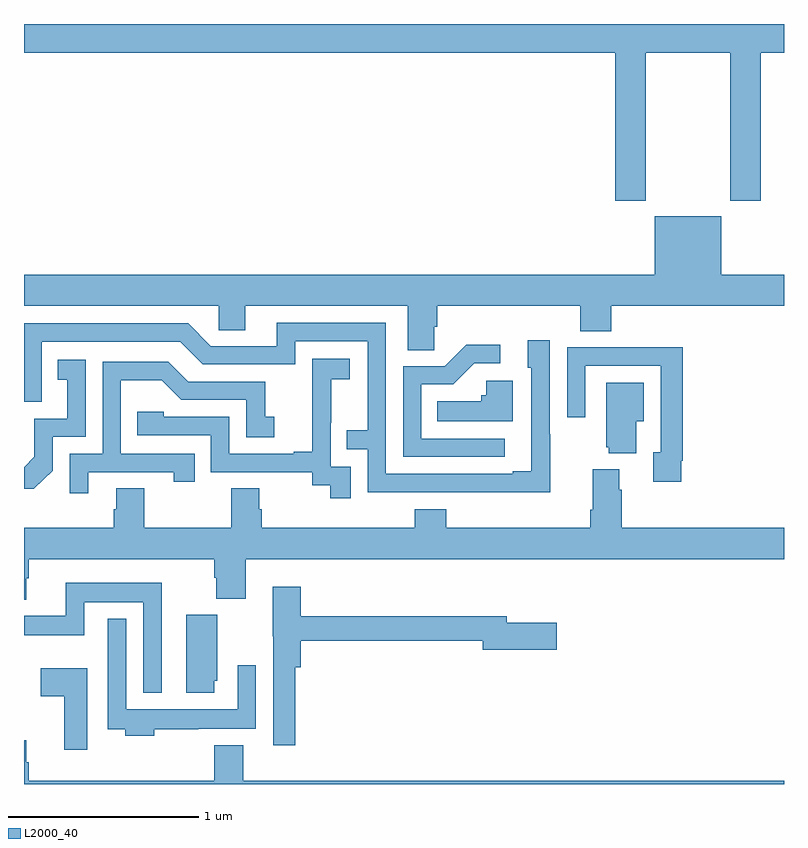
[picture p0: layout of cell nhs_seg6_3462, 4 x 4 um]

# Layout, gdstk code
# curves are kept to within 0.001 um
import gdstk
lib = gdstk.Library(unit=1e-6, precision=1e-09)
def P(c, l, *ps):  # polygons
    for p in ps: c.add(gdstk.Polygon(p, *l))
L2000_40 = (2000, 40)

nhs_seg6_3462 = lib.new_cell('nhs_seg6_3462')
P(nhs_seg6_3462, L2000_40, [(318.273,935.348),(318.718,935.348),(318.718,934.569),(318.878,934.569),(318.878,935.348),(319,935.348),(319,935.5),(315,935.5),(315,935.348),(318.113,935.348),(318.113,934.569),(318.273,934.569)],
  [(317.16,933.907),(317.174,933.907),(317.174,934.016),(317.927,934.016),(317.927,933.883),(318.092,933.883),(318.092,934.016),(319,934.016),(319,934.18),(318.67,934.18),(318.67,934.489),(318.32,934.489),(318.32,934.18),(315,934.18),(315,934.016),(316.026,934.016),(316.026,933.889),(316.165,933.889),(316.165,934.016),(317.021,934.016),(317.021,933.784),(317.16,933.784)],
  [(317.769,933.341),(317.766,933.341),(317.766,933.835),(317.651,933.835),(317.651,933.69),(317.67,933.69),(317.67,933.145),(317.573,933.145),(317.573,933.132),(316.905,933.132),(316.905,933.927),(316.331,933.927),(316.331,933.804),(315.984,933.804),(315.864,933.924),(315,933.924),(315,933.513),(315.093,933.513),(315.093,933.828),(315.822,933.828),(315.942,933.708),(316.428,933.708),(316.428,933.831),(316.809,933.831),(316.809,933.362),(316.699,933.362),(316.699,933.261),(316.809,933.261),(316.809,933.036),(317.769,933.035)],
  [(317.53,933.318),(317.091,933.318),(317.091,933.603),(317.26,933.603),(317.371,933.714),(317.506,933.714),(317.506,933.812),(317.327,933.812),(317.214,933.699),(316.995,933.699),(316.995,933.222),(317.53,933.222)],
  [(318.46,933.202),(318.467,933.202),(318.467,933.8),(318.175,933.8),(318.175,933.798),(317.859,933.798),(317.859,933.429),(317.955,933.429),(317.955,933.702),(318.351,933.702),(318.351,933.246),(318.311,933.246),(318.311,933.09),(318.46,933.09)],
  [(316.719,933.171),(316.614,933.171),(316.614,933.401),(316.616,933.401),(316.616,933.629),(316.714,933.629),(316.714,933.739),(316.516,933.739),(316.516,933.533),(316.517,933.533),(316.517,933.25),(316.421,933.25),(316.421,933.237),(316.08,933.237),(316.08,933.432),(315.735,933.432),(315.735,933.459),(315.595,933.459),(315.595,933.336),(315.984,933.336),(315.984,933.141),(316.518,933.141),(316.518,933.073),(316.611,933.073),(316.611,933.003),(316.719,933.003)],
  [(315.15,933.15),(315.15,933.327),(315.324,933.327),(315.324,933.733),(315.178,933.733),(315.178,933.627),(315.227,933.627),(315.227,933.423),(315.054,933.423),(315.054,933.222),(315,933.168),(315,933.053),(315.052,933.053)],
  [(315.337,933.141),(315.788,933.141),(315.788,933.09),(315.899,933.09),(315.899,933.237),(315.51,933.237),(315.51,933.626),(315.724,933.626),(315.828,933.522),(316.17,933.522),(316.17,933.324),(316.318,933.324),(316.318,933.433),(316.269,933.433),(316.269,933.618),(315.865,933.618),(315.76,933.723),(315.414,933.723),(315.414,933.237),(315.24,933.237),(315.24,933.03),(315.337,933.03)],
  [(317.572,933.622),(317.433,933.622),(317.433,933.546),(317.407,933.546),(317.407,933.514),(317.176,933.514),(317.176,933.41),(317.572,933.41)],
  [(318.223,933.41),(318.262,933.41),(318.262,933.613),(318.065,933.613),(318.065,933.273),(318.077,933.273),(318.077,933.242),(318.223,933.242)],
  [(315,932.471),(315.013,932.471),(315.013,932.583),(315.026,932.583),(315.026,932.684),(316.001,932.684),(316.001,932.585),(316.013,932.585),(316.013,932.476),(316.166,932.476),(316.166,932.684),(319,932.684),(319,932.848),(318.146,932.848),(318.146,933.05),(318.133,933.05),(318.133,933.157),(317.993,933.157),(317.993,932.944),(317.981,932.944),(317.981,932.848),(317.222,932.848),(317.222,932.947),(317.057,932.947),(317.057,932.848),(316.25,932.848),(316.25,932.946),(316.237,932.946),(316.237,933.056),(316.09,933.056),(316.09,932.848),(315.633,932.848),(315.633,933.056),(315.485,933.056),(315.485,932.946),(315.473,932.946),(315.473,932.848),(315,932.848)],
  [(315.724,932.56),(315.221,932.56),(315.221,932.386),(315,932.386),(315,932.282),(315.318,932.282),(315.318,932.456),(315.627,932.456),(315.627,931.979),(315.724,931.979)],
  [(316.427,932.114),(316.457,932.114),(316.457,932.254),(317.414,932.254),(317.414,932.207),(317.803,932.207),(317.803,932.349),(317.542,932.349),(317.542,932.383),(316.457,932.383),(316.457,932.539),(316.31,932.539),(316.31,932.277),(316.311,932.277),(316.311,931.704),(316.427,931.704)],
  [(316,932.043),(316.018,932.043),(316.018,932.391),(315.854,932.391),(315.854,931.98),(316,931.98)],
  [(315.686,931.788),(315.917,931.788),(315.917,931.79),(316.221,931.79),(316.221,932.125),(316.125,932.125),(316.125,931.894),(315.537,931.894),(315.537,932.371),(315.441,932.371),(315.441,931.788),(315.533,931.788),(315.533,931.754),(315.686,931.754)],
  [(315.334,932.11),(315.087,932.11),(315.087,931.963),(315.212,931.963),(315.212,931.68),(315.334,931.68)],
  [(319,931.516),(316.153,931.516),(316.153,931.705),(316.001,931.705),(316.001,931.516),(315.026,931.516),(315.026,931.614),(315.013,931.614),(315.013,931.729),(315,931.729),(315,931.5),(319,931.5)])

lib.write_gds('nhs_seg6_3462.gds')
